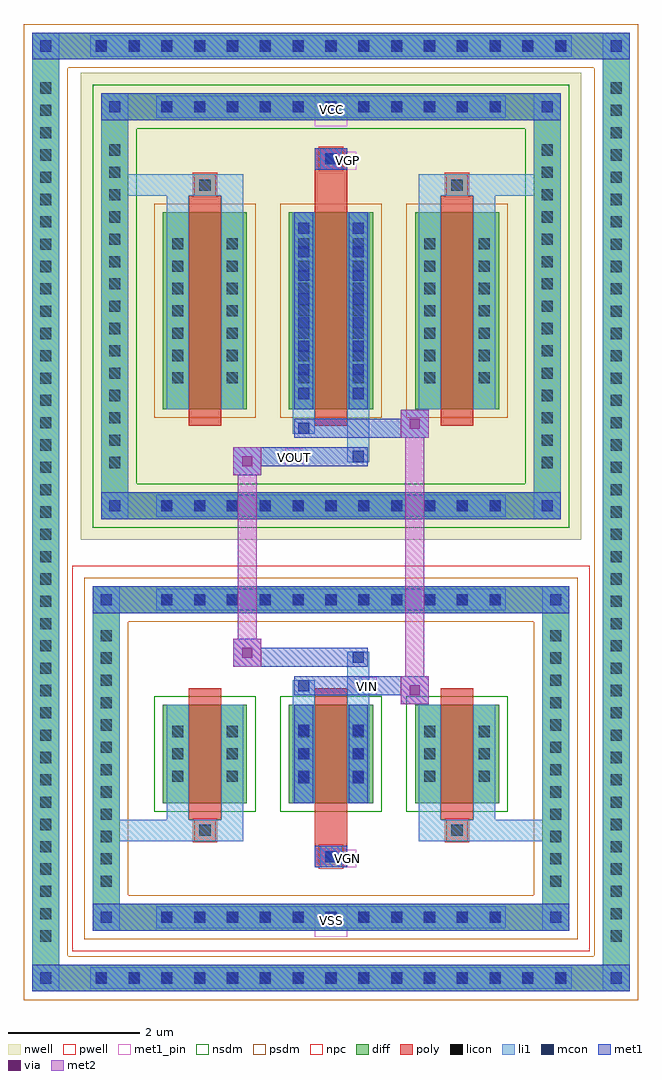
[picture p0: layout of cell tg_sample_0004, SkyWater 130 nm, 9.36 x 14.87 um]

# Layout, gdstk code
import gdstk
lib = gdstk.Library(unit=1e-6, precision=5e-09)
def R(c, l, rs):  # rectangles x0, y0, x1, y1
    for r in rs: c.add(gdstk.rectangle(r[:2], r[2:], *l))
def A(c, l, x, y, w, h, nx, ny, dx, dy):  # array of equal rectangles
    R(c, l, [(x+i*dx, y+j*dy, x+i*dx+w, y+j*dy+h) for i in range(nx) for j in range(ny)])
def P(c, l, *ps):  # polygons
    for p in ps: c.add(gdstk.Polygon(p, *l))
nwell = (64, 20)
pwell = (64, 44)
diff = (65, 20)
poly = (66, 20)
licon = (66, 44)
li1 = (67, 20)
mcon = (67, 44)
met1_pin = (68, 16)
met1 = (68, 20)
via = (68, 44)
met2 = (69, 20)
nsdm = (93, 44)
psdm = (94, 20)
npc = (95, 20)

tg_sample_0004 = lib.new_cell('tg_sample_0004')
R(tg_sample_0004, nwell, [(-3.81,3.335,3.81,10.445)])
R(tg_sample_0004, pwell, [(-3.94,-2.935,3.94,2.935)])
A(tg_sample_0004, diff, -3.705, -3.55, 0.41, 0.41, 15, 2, 0.5, 14.2)
A(tg_sample_0004, diff, -4.55, -2.91, 0.41, 0.41, 1, 39, 0, 0.34)
A(tg_sample_0004, diff, 4.14, -2.91, 0.41, 0.41, 1, 39, 0, 0.34)
A(tg_sample_0004, diff, -2.705, -2.625, 0.41, 0.41, 11, 2, 0.5, 4.84)
A(tg_sample_0004, diff, -3.63, -2.075, 0.41, 0.41, 1, 12, 0, 0.34)
A(tg_sample_0004, diff, 3.22, -2.075, 0.41, 0.41, 1, 12, 0, 0.34)
A(tg_sample_0004, diff, -2.56, -0.68, 1.28, 1.5, 3, 1, 1.92, 0)
A(tg_sample_0004, diff, -2.705, 3.645, 0.41, 0.41, 11, 2, 0.5, 6.08)
A(tg_sample_0004, diff, -3.5, 4.305, 0.41, 0.41, 1, 15, 0, 0.34)
A(tg_sample_0004, diff, 3.09, 4.305, 0.41, 0.41, 1, 15, 0, 0.34)
A(tg_sample_0004, diff, -2.56, 5.32, 1.28, 3, 3, 1, 1.92, 0)
R(tg_sample_0004, diff, [(-3.705,-3.55,3.705,-3.14), (-4.55,-2.91,-4.14,10.42), (4.14,-2.91,4.55,10.42), (-2.705,-2.625,2.705,-2.215), (-3.63,-2.075,-3.22,2.075), (3.22,-2.075,3.63,2.075), (-2.705,2.215,2.705,2.625), (-2.705,3.645,2.705,4.055), (-3.5,4.305,-3.09,9.475), (3.09,4.305,3.5,9.475), (-2.705,9.725,2.705,10.135), (-3.705,10.65,3.705,11.06)])
P(tg_sample_0004, diff, [(3.63,2.625),(-3.63,2.625),(-3.63,-2.215),(-3.22,-2.215),(-3.22,2.215),(3.22,2.215),(3.22,-2.215),(-3.22,-2.215),(-3.63,-2.215),(-3.63,-2.625),(3.63,-2.625)],
  [(4.55,11.06),(-4.55,11.06),(-4.55,-3.14),(-4.14,-3.14),(-4.14,10.65),(4.14,10.65),(4.14,-3.14),(-4.14,-3.14),(-4.55,-3.14),(-4.55,-3.55),(4.55,-3.55)],
  [(3.5,3.645),(-3.5,3.645),(-3.5,9.725),(-3.09,9.725),(-3.09,4.055),(3.09,4.055),(3.09,9.725),(-3.09,9.725),(-3.5,9.725),(-3.5,10.135),(3.5,10.135)])
A(tg_sample_0004, poly, -2.17, -0.93, 0.5, 2, 3, 1, 1.92, 0)
A(tg_sample_0004, poly, -2.17, 5.07, 0.5, 3.5, 3, 1, 1.92, 0)
R(tg_sample_0004, poly, [(-0.25,-1.66,0.25,-1.33), (-0.165,-1.66,0.165,-1.33), (-0.25,-1.33,0.25,-0.93), (-2.085,-1.26,-1.755,-0.93), (-2.085,-1.26,-1.755,-0.93), (1.755,-1.26,2.085,-0.93), (1.755,-1.26,2.085,-0.93), (-2.085,8.57,-1.755,8.9), (-2.085,8.57,-1.755,8.9), (-0.25,8.57,0.25,8.97), (1.755,8.57,2.085,8.9), (1.755,8.57,2.085,8.9), (-0.25,8.97,0.25,9.3), (-0.165,8.97,0.165,9.3)])
A(tg_sample_0004, licon, -3.585, -3.43, 0.17, 0.17, 15, 2, 0.5, 14.2)
A(tg_sample_0004, licon, -4.43, -2.79, 0.17, 0.17, 1, 39, 0, 0.34)
A(tg_sample_0004, licon, 4.26, -2.79, 0.17, 0.17, 1, 39, 0, 0.34)
A(tg_sample_0004, licon, -2.585, -2.505, 0.17, 0.17, 11, 2, 0.5, 4.84)
A(tg_sample_0004, licon, -3.51, -1.955, 0.17, 0.17, 1, 12, 0, 0.34)
A(tg_sample_0004, licon, 3.34, -1.955, 0.17, 0.17, 1, 12, 0, 0.34)
A(tg_sample_0004, licon, -2.42, -0.355, 0.17, 0.17, 1, 3, 0, 0.34)
A(tg_sample_0004, licon, -1.59, -0.355, 0.17, 0.17, 1, 3, 0, 0.34)
A(tg_sample_0004, licon, -0.5, -0.355, 0.17, 0.17, 1, 3, 0, 0.34)
A(tg_sample_0004, licon, 0.33, -0.355, 0.17, 0.17, 1, 3, 0, 0.34)
A(tg_sample_0004, licon, 1.42, -0.355, 0.17, 0.17, 1, 3, 0, 0.34)
A(tg_sample_0004, licon, 2.25, -0.355, 0.17, 0.17, 1, 3, 0, 0.34)
A(tg_sample_0004, licon, -2.585, 3.765, 0.17, 0.17, 11, 2, 0.5, 6.08)
A(tg_sample_0004, licon, -3.38, 4.425, 0.17, 0.17, 1, 15, 0, 0.34)
A(tg_sample_0004, licon, 3.21, 4.425, 0.17, 0.17, 1, 15, 0, 0.34)
A(tg_sample_0004, licon, -2.42, 5.715, 0.17, 0.17, 1, 7, 0, 0.34)
A(tg_sample_0004, licon, -1.59, 5.715, 0.17, 0.17, 1, 7, 0, 0.34)
A(tg_sample_0004, licon, -0.5, 5.715, 0.17, 0.17, 1, 7, 0, 0.34)
A(tg_sample_0004, licon, 0.33, 5.715, 0.17, 0.17, 1, 7, 0, 0.34)
A(tg_sample_0004, licon, 1.42, 5.715, 0.17, 0.17, 1, 7, 0, 0.34)
A(tg_sample_0004, licon, 2.25, 5.715, 0.17, 0.17, 1, 7, 0, 0.34)
R(tg_sample_0004, licon, [(-0.085,-1.58,0.085,-1.41), (-2.005,-1.18,-1.835,-1.01), (1.835,-1.18,2.005,-1.01), (-2.005,8.65,-1.835,8.82), (1.835,8.65,2.005,8.82), (-0.085,9.05,0.085,9.22)])
A(tg_sample_0004, li1, -3.665, -3.51, 0.33, 0.33, 15, 2, 0.5, 14.2)
A(tg_sample_0004, li1, -4.51, -2.87, 0.33, 0.33, 1, 39, 0, 0.34)
A(tg_sample_0004, li1, 4.18, -2.87, 0.33, 0.33, 1, 39, 0, 0.34)
A(tg_sample_0004, li1, -2.665, -2.585, 0.33, 0.33, 11, 2, 0.5, 4.84)
A(tg_sample_0004, li1, -3.59, -2.035, 0.33, 0.33, 1, 12, 0, 0.34)
A(tg_sample_0004, li1, 3.26, -2.035, 0.33, 0.33, 1, 12, 0, 0.34)
A(tg_sample_0004, li1, -2.5, -0.435, 0.33, 0.33, 1, 3, 0, 0.34)
A(tg_sample_0004, li1, -1.67, -0.435, 0.33, 0.33, 1, 3, 0, 0.34)
A(tg_sample_0004, li1, -0.58, -0.435, 0.33, 0.33, 1, 3, 0, 0.34)
A(tg_sample_0004, li1, 0.25, -0.435, 0.33, 0.33, 1, 3, 0, 0.34)
A(tg_sample_0004, li1, 1.34, -0.435, 0.33, 0.33, 1, 3, 0, 0.34)
A(tg_sample_0004, li1, 2.17, -0.435, 0.33, 0.33, 1, 3, 0, 0.34)
A(tg_sample_0004, li1, -0.5, -0.375, 0.17, 0.17, 1, 3, 0, 0.36)
A(tg_sample_0004, li1, 0.33, -0.375, 0.17, 0.17, 1, 3, 0, 0.36)
A(tg_sample_0004, li1, -2.665, 3.685, 0.33, 0.33, 11, 2, 0.5, 6.08)
A(tg_sample_0004, li1, -3.46, 4.345, 0.33, 0.33, 1, 15, 0, 0.34)
A(tg_sample_0004, li1, 3.13, 4.345, 0.33, 0.33, 1, 15, 0, 0.34)
A(tg_sample_0004, li1, -0.5, 5.475, 0.17, 0.17, 1, 8, 0, 0.36)
A(tg_sample_0004, li1, 0.33, 5.475, 0.17, 0.17, 1, 8, 0, 0.36)
A(tg_sample_0004, li1, -2.5, 5.635, 0.33, 0.33, 1, 7, 0, 0.34)
A(tg_sample_0004, li1, -1.67, 5.635, 0.33, 0.33, 1, 7, 0, 0.34)
A(tg_sample_0004, li1, -0.58, 5.635, 0.33, 0.33, 1, 7, 0, 0.34)
A(tg_sample_0004, li1, 0.25, 5.635, 0.33, 0.33, 1, 7, 0, 0.34)
A(tg_sample_0004, li1, 1.34, 5.635, 0.33, 0.33, 1, 7, 0, 0.34)
A(tg_sample_0004, li1, 2.17, 5.635, 0.33, 0.33, 1, 7, 0, 0.34)
R(tg_sample_0004, li1, [(-4.55,-3.55,-4.14,-3.14), (4.14,-3.55,4.55,-3.14), (-3.665,-3.51,3.665,-3.18), (-4.43,-3.43,-4.26,-3.26), (-4.43,-3.43,-4.26,-3.26), (4.26,-3.43,4.43,-3.26), (4.26,-3.43,4.43,-3.26), (-4.55,-3.14,-4.14,10.65), (4.14,-3.14,4.55,10.65), (-3.63,-2.625,-3.22,-2.215), (3.22,-2.625,3.63,-2.215), (-2.665,-2.585,2.665,-2.255), (-3.51,-2.505,-3.34,-2.335), (-3.51,-2.505,-3.34,-2.335), (3.34,-2.505,3.51,-2.335), (3.34,-2.505,3.51,-2.335), (-3.63,-2.215,-3.22,2.215), (3.22,-2.215,3.63,2.215), (-0.165,-1.66,0.165,-1.33), (-3.63,-1.26,-2.085,-0.93), (-2.5,-1.26,-2.085,-0.93), (-2.5,-1.26,-2.17,-0.68), (-2.085,-1.26,-1.755,-0.93), (-1.755,-1.26,-1.34,-0.93), (-1.67,-1.26,-1.34,-0.68), (1.34,-1.26,1.755,-0.93), (1.34,-1.26,1.67,-0.68), (1.755,-1.26,2.085,-0.93), (1.755,-1.26,3.63,-0.93), (2.085,-1.26,2.5,-0.93), (2.17,-1.26,2.5,-0.68), (-2.5,-0.68,-2.17,0.82), (-1.67,-0.68,-1.34,0.82), (-0.58,-0.68,-0.25,0.82), (0.25,-0.68,0.58,0.82), (1.34,-0.68,1.67,0.82), (2.17,-0.68,2.5,0.82), (-0.5,-0.375,-0.33,0.515), (0.33,-0.375,0.5,0.515), (-0.58,0.82,-0.25,1.195), (0.25,0.82,0.58,1.625), (-0.5,1.025,-0.33,1.195), (0.33,1.455,0.5,1.625), (-3.63,2.215,-3.22,2.625), (3.22,2.215,3.63,2.625), (-2.665,2.255,2.665,2.585), (-3.51,2.335,-3.34,2.505), (-3.51,2.335,-3.34,2.505), (3.34,2.335,3.51,2.505), (3.34,2.335,3.51,2.505), (-3.5,3.645,-3.09,4.055), (3.09,3.645,3.5,4.055), (-2.665,3.685,2.665,4.015), (-3.38,3.765,-3.21,3.935), (-3.38,3.765,-3.21,3.935), (3.21,3.765,3.38,3.935), (3.21,3.765,3.38,3.935), (-3.5,4.055,-3.09,9.725), (3.09,4.055,3.5,9.725), (0.25,4.515,0.58,5.32), (0.33,4.515,0.5,4.685), (-0.58,4.945,-0.25,5.32), (-0.5,4.945,-0.33,5.115), (-2.5,5.32,-2.17,8.32), (-1.67,5.32,-1.34,8.32), (-0.58,5.32,-0.25,8.32), (0.25,5.32,0.58,8.32), (1.34,5.32,1.67,8.32), (2.17,5.32,2.5,8.32), (-0.5,5.475,-0.33,8.165), (0.33,5.475,0.5,8.165), (-2.5,8.32,-2.17,8.9), (-1.67,8.32,-1.34,8.9), (1.34,8.32,1.67,8.9), (2.17,8.32,2.5,8.9), (-3.5,8.57,-2.085,8.9), (-2.5,8.57,-2.085,8.9), (-2.085,8.57,-1.755,8.9), (-1.755,8.57,-1.34,8.9), (1.34,8.57,1.755,8.9), (1.755,8.57,2.085,8.9), (1.755,8.57,3.5,8.9), (2.085,8.57,2.5,8.9), (-0.165,8.97,0.165,9.3), (-3.5,9.725,-3.09,10.135), (3.09,9.725,3.5,10.135), (-2.665,9.765,2.665,10.095), (-3.38,9.845,-3.21,10.015), (-3.38,9.845,-3.21,10.015), (3.21,9.845,3.38,10.015), (3.21,9.845,3.38,10.015), (-4.55,10.65,-4.14,11.06), (4.14,10.65,4.55,11.06), (-3.665,10.69,3.665,11.02), (-4.43,10.77,-4.26,10.94), (-4.43,10.77,-4.26,10.94), (4.26,10.77,4.43,10.94), (4.26,10.77,4.43,10.94)])
A(tg_sample_0004, mcon, -3.585, -3.43, 0.17, 0.17, 15, 2, 0.5, 14.2)
A(tg_sample_0004, mcon, -2.585, -2.505, 0.17, 0.17, 11, 2, 0.5, 4.84)
A(tg_sample_0004, mcon, -0.5, -0.375, 0.17, 0.17, 1, 3, 0, 0.36)
A(tg_sample_0004, mcon, 0.33, -0.375, 0.17, 0.17, 1, 3, 0, 0.36)
A(tg_sample_0004, mcon, -2.585, 3.765, 0.17, 0.17, 11, 2, 0.5, 6.08)
A(tg_sample_0004, mcon, -0.5, 5.475, 0.17, 0.17, 1, 8, 0, 0.36)
A(tg_sample_0004, mcon, 0.33, 5.475, 0.17, 0.17, 1, 8, 0, 0.36)
R(tg_sample_0004, mcon, [(-4.43,-3.43,-4.26,-3.26), (4.26,-3.43,4.43,-3.26), (-3.51,-2.505,-3.34,-2.335), (3.34,-2.505,3.51,-2.335), (-0.085,-1.58,0.085,-1.41), (-0.5,1.025,-0.33,1.195), (0.33,1.455,0.5,1.625), (-3.51,2.335,-3.34,2.505), (3.34,2.335,3.51,2.505), (-3.38,3.765,-3.21,3.935), (3.21,3.765,3.38,3.935), (0.33,4.515,0.5,4.685), (-0.5,4.945,-0.33,5.115), (-0.085,9.05,0.085,9.22), (-3.38,9.845,-3.21,10.015), (3.21,9.845,3.38,10.015), (-4.43,10.77,-4.26,10.94), (4.26,10.77,4.43,10.94)])
R(tg_sample_0004, met1_pin, [(-0.25,-2.715,0.25,-2.215), (0.115,-1.66,0.385,-1.39), (0.425,0.965,0.695,1.235), (-0.695,4.455,-0.425,4.725), (0.115,8.97,0.385,9.24), (-0.25,9.635,0.25,10.135)])
A(tg_sample_0004, met1, -3.645, -3.49, 0.29, 0.29, 15, 2, 0.5, 14.2)
A(tg_sample_0004, met1, -2.645, -2.565, 0.29, 0.29, 11, 2, 0.5, 4.84)
A(tg_sample_0004, met1, -0.56, -0.435, 0.29, 0.29, 1, 3, 0, 0.36)
A(tg_sample_0004, met1, 0.27, -0.435, 0.29, 0.29, 1, 3, 0, 0.36)
A(tg_sample_0004, met1, -2.645, 3.705, 0.29, 0.29, 11, 2, 0.5, 6.08)
A(tg_sample_0004, met1, -0.56, 5.415, 0.29, 0.29, 1, 8, 0, 0.36)
A(tg_sample_0004, met1, 0.27, 5.415, 0.29, 0.29, 1, 8, 0, 0.36)
R(tg_sample_0004, met1, [(-4.55,-3.55,-4.14,-3.14), (-4.55,-3.55,-4.14,-3.14), (-4.14,-3.55,4.14,-3.14), (4.14,-3.55,4.55,-3.14), (4.14,-3.55,4.55,-3.14), (-4.49,-3.49,-4.2,-3.2), (4.2,-3.49,4.49,-3.2), (-3.63,-2.625,-3.22,-2.215), (-3.63,-2.625,-3.22,-2.215), (-3.22,-2.625,3.22,-2.215), (3.22,-2.625,3.63,-2.215), (3.22,-2.625,3.63,-2.215), (-3.57,-2.565,-3.28,-2.275), (3.28,-2.565,3.57,-2.275), (-0.25,-1.66,0.25,-1.33), (-0.145,-1.64,0.145,-1.35), (-0.56,-0.68,-0.27,0.82), (0.27,-0.68,0.56,0.82), (1.06,0.825,1.49,1.255), (-0.56,0.965,-0.27,1.255), (-0.56,0.965,0.56,1.255), (0.56,0.965,1.49,1.255), (-1.49,1.395,-0.56,1.685), (-1.49,1.395,-1.06,1.825), (-0.56,1.395,0.56,1.685), (0.27,1.395,0.56,1.685), (-3.63,2.215,-3.22,2.625), (-3.63,2.215,-3.22,2.625), (-3.22,2.215,3.22,2.625), (3.22,2.215,3.63,2.625), (3.22,2.215,3.63,2.625), (-3.57,2.275,-3.28,2.565), (3.28,2.275,3.57,2.565), (-3.5,3.645,-3.09,4.055), (-3.5,3.645,-3.09,4.055), (-3.09,3.645,3.09,4.055), (3.09,3.645,3.5,4.055), (3.09,3.645,3.5,4.055), (-3.44,3.705,-3.15,3.995), (3.15,3.705,3.44,3.995), (-1.49,4.315,-1.06,4.745), (-1.49,4.455,-0.56,4.745), (-0.56,4.455,0.56,4.745), (0.27,4.455,0.56,4.745), (-0.56,4.885,-0.27,5.175), (-0.56,4.885,0.56,5.175), (0.56,4.885,1.49,5.175), (1.06,4.885,1.49,5.315), (-0.56,5.32,-0.27,8.32), (0.27,5.32,0.56,8.32), (-0.25,8.97,0.25,9.3), (-0.145,8.99,0.145,9.28), (-3.5,9.725,-3.09,10.135), (-3.5,9.725,-3.09,10.135), (-3.09,9.725,3.09,10.135), (3.09,9.725,3.5,10.135), (3.09,9.725,3.5,10.135), (-3.44,9.785,-3.15,10.075), (3.15,9.785,3.44,10.075), (-4.55,10.65,-4.14,11.06), (-4.55,10.65,-4.14,11.06), (-4.14,10.65,4.14,11.06), (4.14,10.65,4.55,11.06), (4.14,10.65,4.55,11.06), (-4.49,10.71,-4.2,11), (4.2,10.71,4.49,11)])
R(tg_sample_0004, via, [(1.2,0.965,1.35,1.115), (-1.35,1.535,-1.2,1.685), (-1.35,4.455,-1.2,4.605), (1.2,5.025,1.35,5.175)])
R(tg_sample_0004, met2, [(1.06,0.825,1.49,1.255), (1.13,0.825,1.42,5.315), (1.42,0.825,1.49,1.255), (1.11,0.875,1.44,1.205), (-1.49,1.395,-1.06,1.825), (-1.42,1.395,-1.13,4.745), (-1.13,1.395,-1.06,1.825), (-1.44,1.445,-1.11,1.775), (-1.49,4.315,-1.06,4.745), (-1.13,4.315,-1.06,4.745), (-1.44,4.365,-1.11,4.695), (1.06,4.885,1.49,5.315), (1.42,4.885,1.49,5.315), (1.11,4.935,1.44,5.265)])
A(tg_sample_0004, nsdm, -2.69, -0.81, 1.54, 1.76, 3, 1, 1.92, 0)
P(tg_sample_0004, nsdm, [(3.63,3.515),(-3.63,3.515),(-3.63,9.595),(-2.96,9.595),(-2.96,4.185),(2.96,4.185),(2.96,9.595),(-2.96,9.595),(-3.63,9.595),(-3.63,10.265),(3.63,10.265)])
A(tg_sample_0004, psdm, -2.69, 5.19, 1.54, 3.26, 3, 1, 1.92, 0)
P(tg_sample_0004, psdm, [(3.76,2.755),(-3.76,2.755),(-3.76,-2.085),(-3.09,-2.085),(-3.09,2.085),(3.09,2.085),(3.09,-2.085),(-3.09,-2.085),(-3.76,-2.085),(-3.76,-2.755),(3.76,-2.755)],
  [(4.68,11.19),(-4.68,11.19),(-4.68,-3.01),(-4.01,-3.01),(-4.01,10.52),(4.01,10.52),(4.01,-3.01),(-4.01,-3.01),(-4.68,-3.01),(-4.68,-3.68),(4.68,-3.68)])
R(tg_sample_0004, npc, [(-0.185,-1.68,0.185,-1.31), (-2.105,-1.28,-1.735,-0.91), (1.735,-1.28,2.105,-0.91), (-2.105,8.55,-1.735,8.92), (1.735,8.55,2.105,8.92), (-0.185,8.95,0.185,9.32)])
tg_sample_0004.add(gdstk.Label('VIN', (0.56,1.1), layer=68, texttype=5))
tg_sample_0004.add(gdstk.Label('VGN', (0.25,-1.525), layer=68, texttype=5))
tg_sample_0004.add(gdstk.Label('VGP', (0.25,9.105), layer=68, texttype=5))
tg_sample_0004.add(gdstk.Label('VSS', (0,-2.465), layer=68, texttype=5))
tg_sample_0004.add(gdstk.Label('VCC', (0,9.885), layer=68, texttype=5))
tg_sample_0004.add(gdstk.Label('VOUT', (-0.56,4.59), layer=68, texttype=5))

lib.write_gds('tg_sample_0004.gds')
